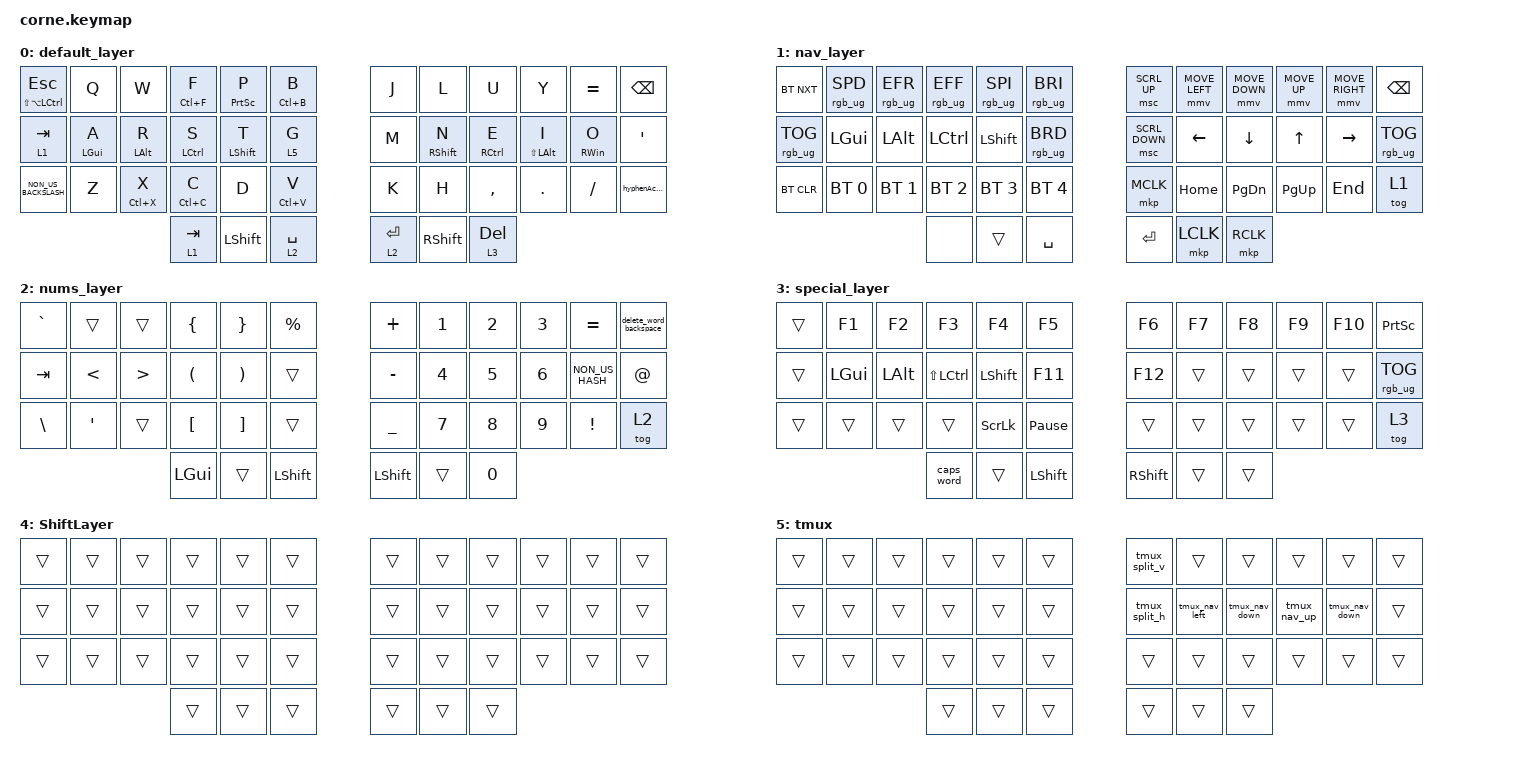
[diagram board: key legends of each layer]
/*
 * Copyright (c) 2020 The ZMK Contributors
 *
 * SPDX-License-Identifier: MIT
 */

#include <behaviors.dtsi>
#include <dt-bindings/zmk/bt.h>
#include <dt-bindings/zmk/keys.h>
#include <dt-bindings/zmk/pointing.h>
#include <dt-bindings/zmk/rgb.h>

// &led_strip { chain-length = <27>; };

/ {
    behaviors {
        space_lt: space_lt {
            compatible = "zmk,behavior-toggle-layer";
            label = "SPACE_LT";
            #binding-cells = <1>;
            toggle-mode = "off";
        };

        hyphenAccess: hyphenAccess {
            compatible = "zmk,behavior-tap-dance";
            label = "HYPHENACCESS";
            #binding-cells = <0>;
            tapping-term-ms = <200>;
            bindings = <&kp SEMICOLON>, <&kp MINUS>;
        };

        tap_layer: tap_layer {
            compatible = "zmk,behavior-hold-tap";
            label = "TAP_LAYER";
            bindings = <&mo>, <&kp>;

            #binding-cells = <2>;
            tapping-term-ms = <10>;
            quick-tap-ms = <(-1)>;
            flavor = "balanced";
        };

        slow_tap: slow_tap {
            compatible = "zmk,behavior-hold-tap";
            label = "SLOW_TAP";
            bindings = <&kp>, <&kp>;

            #binding-cells = <2>;
            tapping-term-ms = <300>;
            flavor = "tap-preferred";
            require-prior-idle-ms = <130>;
            quick-tap-ms = <150>;
        };

        fast_tap: fast_tap {
            compatible = "zmk,behavior-hold-tap";
            label = "FAST_TAP";
            bindings = <&kp>, <&kp>;

            #binding-cells = <2>;
            tapping-term-ms = <140>;
            flavor = "balanced";
        };

        delete_word_backspace: delete_word_backspace {
            compatible = "zmk,behavior-tap-dance";
            label = "DELETE_WORD_BACKSPACE";
            #binding-cells = <0>;
            bindings = <&kp BACKSPACE>, <&kp LC(BACKSPACE)>;

            tapping-term-ms = <180>;
        };

        delete_word_forward: delete_word_forward {
            compatible = "zmk,behavior-tap-dance";
            label = "DELETE_WORD_FORWARD";
            #binding-cells = <0>;
            bindings = <&kp DELETE>, <&kp LC(DELETE)>;
        };

        new_behavior: new_behavior {
            compatible = "zmk,behavior-tap-dance";
            label = "NEW_BEHAVIOR";
            #binding-cells = <0>;
            tapping-term-ms = <220>;
            bindings = <&kp SEMICOLON>, <&kp MINUS>;
        };
    };

    macros {
        tmux_nav_left: tmux_nav_left {
            compatible = "zmk,behavior-macro";
            #binding-cells = <0>;
            bindings = <&kp LC(B) &kp LEFT>;
            label = "TMUX_NAV_LEFT";
        };

        tmux_nav_right: tmux_nav_right {
            compatible = "zmk,behavior-macro";
            #binding-cells = <0>;
            bindings = <&kp LC(B) &kp RIGHT>;
            label = "TMUX_NAV_RIGHT";
        };

        tmux_nav_up: tmux_nav_up {
            compatible = "zmk,behavior-macro";
            #binding-cells = <0>;
            bindings = <&kp LC(B) &kp UP>;
            label = "TMUX_NAV_UP";
        };

        tmux_nav_down: tmux_nav_down {
            compatible = "zmk,behavior-macro";
            #binding-cells = <0>;
            bindings = <&kp LC(B) &kp DOWN>;
            label = "TMUX_NAV_DOWN";
        };

        tmux_split_h: tmux_split_h {
            compatible = "zmk,behavior-macro";
            #binding-cells = <0>;
            bindings = <&kp LC(B) &kp PERCENT>;
            label = "TMUX_SPLIT_H";
        };

        tmux_split_v: tmux_split_v {
            compatible = "zmk,behavior-macro";
            #binding-cells = <0>;
            bindings = <&kp LC(B) &kp DOUBLE_QUOTES>;
            label = "TMUX_SPLIT_V";
        };
    };

    keymap {
        compatible = "zmk,keymap";

        default_layer {
            // -----------------------------------------------------------------------------------------
            // |  TAB |  Q  |  W  |  E  |  R  |  T  |   |  Y  |  U   |  I  |  O  |  P  | BSPC |
            // | CTRL |  A  |  S  |  D  |  F  |  G  |   |  H  |  J   |  K  |  L  |  ;  |  '   |
            // | SHFT |  Z  |  X  |  C  |  V  |  B  |   |  N  |  M   |  ,  |  .  |  /  | ESC  |
            //                    | GUI | LWR | SPC |   | ENT | RSE  | ALT |

            bindings = <
&mt LS(LA(LEFT_CONTROL)) ESCAPE  &kp Q                 &kp W                 &slow_tap LC(F) F         &slow_tap PRINTSCREEN P  &slow_tap LC(B) B    &kp J        &kp L                    &kp U              &kp Y                     &kp EQUAL              &kp BACKSPACE
&lt 1 TAB                        &slow_tap LEFT_GUI A  &slow_tap LEFT_ALT R  &slow_tap LEFT_CONTROL S  &fast_tap LEFT_SHIFT T   &lt 5 G              &kp M        &fast_tap RIGHT_SHIFT N  &slow_tap RCTRL E  &slow_tap LS(LEFT_ALT) I  &slow_tap RIGHT_WIN O  &kp SQT
&kp NON_US_BACKSLASH             &kp Z                 &slow_tap LC(X) X     &slow_tap LC(C) C         &kp D                    &slow_tap LC(V) V    &kp K        &kp H                    &kp COMMA          &kp DOT                   &kp FSLH               &hyphenAccess
                                                                             &lt 1 TAB                 &kp LSHFT                &lt 2 SPACE          &lt 2 ENTER  &kp RIGHT_SHIFT          &lt 3 DEL
            >;
        };

        nav_layer {
            // -----------------------------------------------------------------------------------------
            // |  TAB |  1  |  2  |  3  |  4  |  5  |   |  6  |  7  |  8  |  9  |  0  | BSPC |
            // | BTCLR| BT1 | BT2 | BT3 | BT4 | BT5 |   | LFT | DWN |  UP | RGT |     |      |
            // | SHFT |     |     |     |     |     |   |     |     |     |     |     |      |
            //                    | GUI |     | SPC |   | ENT |     | ALT |

            bindings = <
&bt BT_NXT       &rgb_ug RGB_SPD  &rgb_ug RGB_EFR  &rgb_ug RGB_EFF  &rgb_ug RGB_SPI  &rgb_ug RGB_BRI    &msc SCRL_UP    &mmv MOVE_LEFT  &mmv MOVE_DOWN  &mmv MOVE_UP  &mmv MOVE_RIGHT  &kp BSPC
&rgb_ug RGB_TOG  &kp LGUI         &kp LALT         &kp LCTRL        &kp LSHFT        &rgb_ug RGB_BRD    &msc SCRL_DOWN  &kp LEFT        &kp DOWN        &kp UP        &kp RIGHT        &rgb_ug RGB_TOG
&bt BT_CLR       &bt BT_SEL 0     &bt BT_SEL 1     &bt BT_SEL 2     &bt BT_SEL 3     &bt BT_SEL 4       &mkp MCLK       &kp HOME        &kp PAGE_DOWN   &kp PAGE_UP   &kp END          &tog 1
                                                   &none            &trans           &kp SPACE          &kp RET         &mkp LCLK       &mkp RCLK
            >;
        };

        nums_layer {
            // -----------------------------------------------------------------------------------------
            // |  TAB |  !  |  @  |  #  |  $  |  %  |   |  ^  |  &  |  *  |  (  |  )  | BSPC |
            // | CTRL |     |     |     |     |     |   |  -  |  =  |  [  |  ]  |  \  |  `   |
            // | SHFT |     |     |     |     |     |   |  _  |  +  |  {  |  }  | "|" |  ~   |
            //                    | GUI |     | SPC |   | ENT |     | ALT |

            bindings = <
&kp GRAVE      &trans            &trans  &kp LBRC  &kp RBRC  &kp PRCNT    &kp PLUS   &kp N1  &kp N2        &kp N3  &kp EQUAL        &delete_word_backspace
&kp TAB        &kp LT            &kp GT  &kp LPAR  &kp RPAR  &trans       &kp MINUS  &kp N4  &kp N5        &kp N6  &kp NON_US_HASH  &kp AT
&kp BACKSLASH  &kp SINGLE_QUOTE  &trans  &kp LBKT  &kp RBKT  &trans       &kp UNDER  &kp N7  &kp N8        &kp N9  &kp EXCL         &tog 2
                                         &kp LGUI  &trans    &kp LSHFT    &kp LSHFT  &trans  &kp NUMBER_0
            >;
        };

        special_layer {
            bindings = <
&trans  &kp F1        &kp F2        &kp F3         &kp F4          &kp F5             &kp F6           &kp F7  &kp F8  &kp F9  &kp F10  &kp PRINTSCREEN
&trans  &kp LEFT_GUI  &kp LEFT_ALT  &kp LS(LCTRL)  &kp LEFT_SHIFT  &kp F11            &kp F12          &trans  &trans  &trans  &trans   &rgb_ug RGB_TOG
&trans  &trans        &trans        &trans         &kp SCROLLLOCK  &kp PAUSE_BREAK    &trans           &trans  &trans  &trans  &trans   &tog 3
                                    &caps_word     &trans          &kp LEFT_SHIFT     &kp RIGHT_SHIFT  &trans  &trans
            >;
        };

        ShiftLayer {
            bindings = <
&trans  &trans  &trans  &trans  &trans  &trans    &trans  &trans  &trans  &trans  &trans  &trans
&trans  &trans  &trans  &trans  &trans  &trans    &trans  &trans  &trans  &trans  &trans  &trans
&trans  &trans  &trans  &trans  &trans  &trans    &trans  &trans  &trans  &trans  &trans  &trans
                        &trans  &trans  &trans    &trans  &trans  &trans
            >;
        };

        tmux {
            bindings = <
&trans  &trans  &trans  &trans  &trans  &trans    &tmux_split_v  &trans          &trans          &trans        &trans          &trans
&trans  &trans  &trans  &trans  &trans  &trans    &tmux_split_h  &tmux_nav_left  &tmux_nav_down  &tmux_nav_up  &tmux_nav_down  &trans
&trans  &trans  &trans  &trans  &trans  &trans    &trans         &trans          &trans          &trans        &trans          &trans
                        &trans  &trans  &trans    &trans         &trans          &trans
            >;
        };
    };
};
